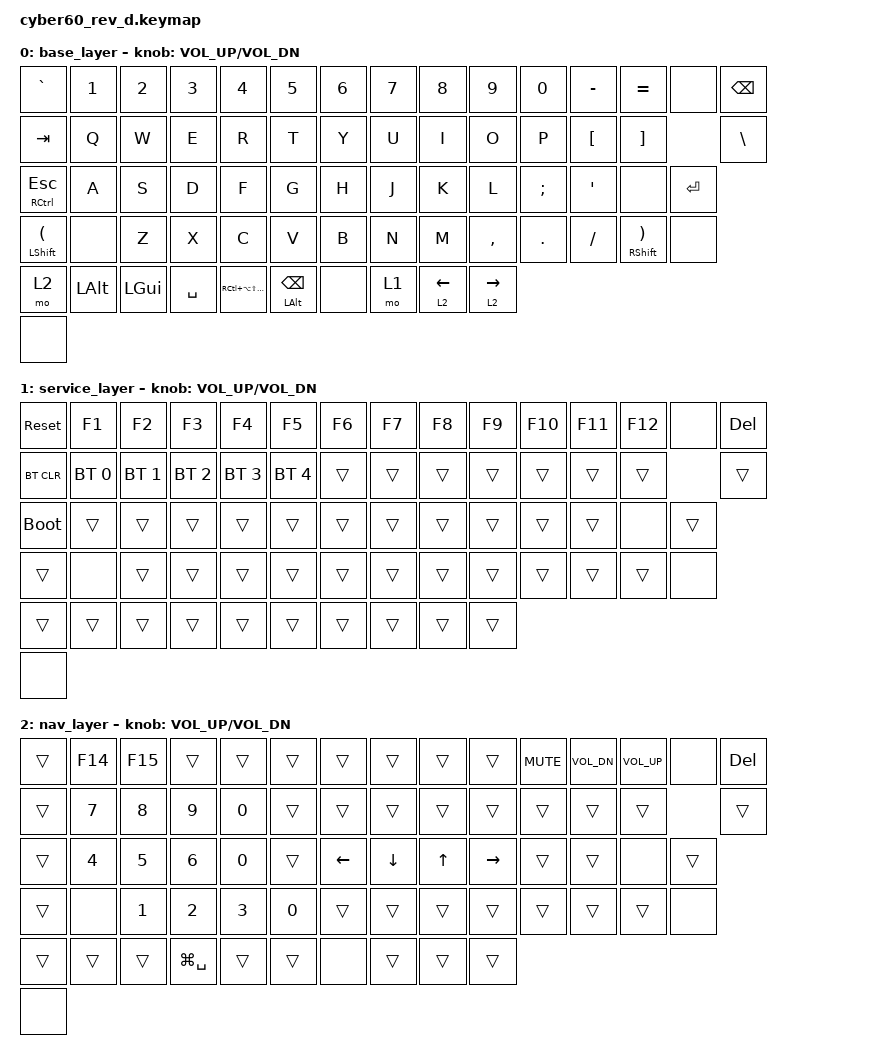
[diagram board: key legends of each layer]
#include <behaviors.dtsi>
#include <dt-bindings/zmk/bt.h>
#include <dt-bindings/zmk/keys.h>
#include <dt-bindings/zmk/rgb.h>

#define ___ &trans
#define XXX &none

#define HYPER RC(LA(LS(LGUI)))

/ {
    keymap {
        compatible = "zmk,keymap";

        base_layer {
            bindings = <
&kp GRAVE           &kp N1  &kp N2  &kp N3  &kp N4  &kp N5  &kp N6  &kp N7  &kp N8     &kp N9   &kp N0    &kp MINUS       &kp EQUAL XXX  &kp BSPC
&kp TAB             &kp Q   &kp W   &kp E   &kp R   &kp T   &kp Y   &kp U   &kp I      &kp O    &kp P     &kp LBKT        &kp RBKT       &kp BSLH
&mt RCTRL ESC       &kp A   &kp S   &kp D   &kp F   &kp G   &kp H   &kp J   &kp K      &kp L    &kp SEMI  &kp SQT XXX     &kp RET
&mt LSHFT LPAR XXX  &kp Z   &kp X   &kp C   &kp V   &kp B   &kp N   &kp M   &kp COMMA  &kp DOT  &kp FSLH  &mt RSHFT RPAR XXX
&mo 2  &kp LALT  &kp LGUI  &kp SPACE  &kp HYPER  &mt LALT BSPC  XXX  &mo 1  &lt 2 LEFT  &lt 2 RIGHT
XXX
            >;

            sensor-bindings = <&inc_dec_kp C_VOL_UP C_VOL_DN>;
        };

        service_layer {
            bindings = <
&sys_reset   &kp F1        &kp F2        &kp F3        &kp F4        &kp F5        &kp F6  &kp F7  &kp F8  &kp F9  &kp F10  &kp F11  &kp F12 XXX  &kp DEL
&bt BT_CLR   &bt BT_SEL 0  &bt BT_SEL 1  &bt BT_SEL 2  &bt BT_SEL 3  &bt BT_SEL 4  ___     ___     ___     ___     ___      ___      ___          ___
&bootloader  ___           ___           ___           ___           ___           ___     ___     ___     ___     ___      ___ XXX  ___
___ XXX      ___           ___           ___           ___           ___           ___     ___     ___     ___     ___      ___ XXX
___          ___           ___           ___           ___           ___           ___     ___     ___     ___
XXX
            >;

            sensor-bindings = <&inc_dec_kp C_VOL_UP C_VOL_DN>;
        };

        nav_layer {
            bindings = <
___      &kp F14  &kp F15  ___     ___     ___  ___       ___       ___     ___        &kp C_MUTE  &kp C_VOL_DN  &kp C_VOL_UP XXX  &kp DEL
___      &kp N7   &kp N8   &kp N9  &kp N0  ___  ___       ___       ___     ___        ___         ___           ___               ___
___      &kp N4   &kp N5   &kp N6  &kp N0  ___  &kp LEFT  &kp DOWN  &kp UP  &kp RIGHT  ___         ___ XXX       ___
___ XXX  &kp N1   &kp N2   &kp N3  &kp N0  ___  ___       ___       ___     ___        ___         ___ XXX
___  ___  ___  &kp LG(SPACE)  ___  ___ XXX  ___  ___  ___
XXX
            >;

            sensor-bindings = <&inc_dec_kp C_VOL_UP C_VOL_DN>;
        };
    };
};
